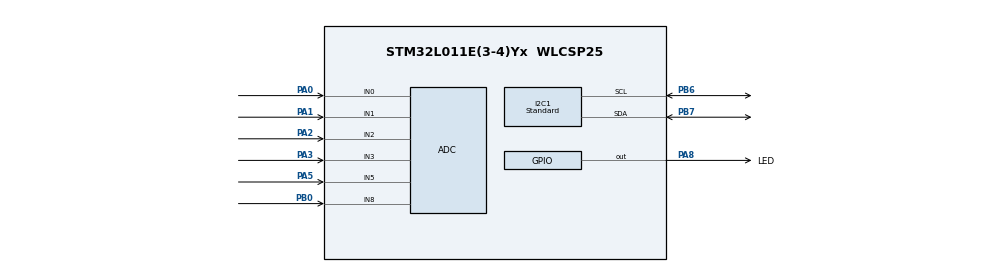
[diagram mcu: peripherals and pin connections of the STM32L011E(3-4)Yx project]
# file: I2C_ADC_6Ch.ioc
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ADC.ClockPrescaler=ADC_CLOCK_SYNC_PCLK_DIV2
ADC.ContinuousConvMode=ENABLE
ADC.DMAContinuousRequests=ENABLE
ADC.Overrun=ADC_OVR_DATA_OVERWRITTEN
ADC.SamplingTime=ADC_SAMPLETIME_39CYCLES_5
Dma.ADC.0.Direction=DMA_PERIPH_TO_MEMORY
Dma.ADC.0.Instance=DMA1_Channel1
Dma.ADC.0.MemDataAlignment=DMA_MDATAALIGN_HALFWORD
Dma.ADC.0.MemInc=DMA_MINC_ENABLE
Dma.ADC.0.Mode=DMA_CIRCULAR
Dma.ADC.0.PeriphDataAlignment=DMA_PDATAALIGN_HALFWORD
Dma.ADC.0.PeriphInc=DMA_PINC_DISABLE
Dma.ADC.0.Priority=DMA_PRIORITY_LOW
Dma.Request0=ADC
I2C1.I2C_Speed_Mode=I2C_Standard
I2C1.OwnAddress=4
I2C1.Timing=0x10420F13
Mcu.Family=STM32L0
Mcu.Name=STM32L011E(3-4)Yx
Mcu.Package=WLCSP25
NVIC.DMA1_Channel1_IRQn=true\:0\:0\:false\:false\:true\:false\:true\:true
NVIC.I2C1_IRQn=true\:0\:0\:false\:false\:true\:true\:true\:true
PA0-CK_IN.Mode=IN0
PA0-CK_IN.Signal=ADC_IN0
PA1.Mode=IN1
PA1.Signal=ADC_IN1
PA2.Mode=IN2
PA2.Signal=ADC_IN2
PA3.Mode=IN3
PA3.Signal=ADC_IN3
PA5.Mode=IN5
PA5.Signal=ADC_IN5
PA8.GPIO_Label=LED
PA8.Signal=GPIO_Output
PB0.Mode=IN8
PB0.Signal=ADC_IN8
PB6.Mode=I2C
PB6.Signal=I2C1_SCL
PB7.Mode=I2C
PB7.Signal=I2C1_SDA
ProjectManager.HeapSize=0x200
ProjectManager.StackSize=0x400
ProjectManager.TargetToolchain=CMake
RCC.AHBFreq_Value=8000000
RCC.APB1Freq_Value=8000000
RCC.APB1TimFreq_Value=8000000
RCC.APB2Freq_Value=8000000
RCC.APB2TimFreq_Value=8000000
RCC.HCLKFreq_Value=8000000
RCC.HSE_VALUE=8000000
RCC.HSI16_VALUE=16000000
RCC.HSI_VALUE=16000000
RCC.LSE_VALUE=32768
RCC.MSIClockRange=RCC_MSIRANGE_6
RCC.MSI_VALUE=4194000
RCC.PLLMUL=RCC_PLLMUL_4
RCC.SYSCLKFreq_VALUE=16000000
RCC.SYSCLKSource=RCC_SYSCLKSOURCE_HSI
RCC.AHBCLKDivider=RCC_SYSCLK_DIV2
RCC.VCOOutputFreq_Value=64000000
board=custom

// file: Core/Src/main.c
/* USER CODE BEGIN Header */
/**
  ******************************************************************************
  * @file           : main.c
  * @brief          : Main program body
  ******************************************************************************
  * @attention
  *
  * Copyright (c) 2026 STMicroelectronics.
  * All rights reserved.
  *
  * This software is licensed under terms that can be found in the LICENSE file
  * in the root directory of this software component.
  * If no LICENSE file comes with this software, it is provided AS-IS.
  *
  ******************************************************************************
  */
/* USER CODE END Header */
#include "main.h"

/* USER CODE BEGIN Includes */
#include "stdbool.h"
#include "stddef.h"
/* USER CODE END Includes */

/* USER CODE BEGIN PTD */

// NVM config defining the offsets of specific fields
typedef struct {
    uint32_t I2C_address;
    uint32_t ADC_channelConfig;
} NVM_Config;

typedef enum {
    NVM_I2C_ADDRESS = offsetof(NVM_Config, I2C_address),
    NVM_ADC_CHANNEL_CONFIG = offsetof(NVM_Config, ADC_channelConfig)
}NVM_Key;

const uint32_t ADC_channelMap[] = {
    LL_ADC_CHANNEL_0, // Bit 0 of mask
    LL_ADC_CHANNEL_1, // Bit 1
    LL_ADC_CHANNEL_2, // Bit 2
    LL_ADC_CHANNEL_3, // Bit 3
    LL_ADC_CHANNEL_5, // Bit 4
    LL_ADC_CHANNEL_8  // Bit 5
};

/* USER CODE END PTD */

/* USER CODE BEGIN PD */
#define FLASH_PEKEY1 0x89ABCDEF // magic flash key 1
#define FLASH_PEKEY2 0x02030405 // magic flash key 2
// Fastest master read is ~3.4k/s (1 channel, 100 kHz), so scan at 2x that.
// A 6-channel scan takes ~78 us at 8 MHz, the period must stay above that.
#define ADC_SCAN_RATE_HZ 7000
/* USER CODE END PD */

/* USER CODE BEGIN PV */
volatile RegisterMap registerMap;
volatile RegisterMap * const pRegisterMap = &registerMap;
volatile uint8_t * pRegisters;
volatile uint8_t * pCurrentRegister;

volatile I2C_State I2C_state;
volatile uint8_t I2C_txRegValue = 0xFF;
volatile uint8_t I2C_RX_buffer[I2C_RX_BUFFER_SIZE];
volatile uint8_t I2C_RX_bufferIdx = 0;
volatile uint8_t I2C_TX_bufferIdx = 0;

volatile uint8_t ADC_channelCount = 0;
volatile uint16_t ADC_buffer[ADC_CHANNELS] = {0, 0, 0, 0, 0, 0};
volatile uint8_t * pADC_maxChannel;
uint8_t ADC_activeMask = 0; // mask the ADC is currently set up for
volatile bool updateChannelConfig = false;
/* USER CODE END PV */

void SystemClock_Config(void);
static void MX_GPIO_Init(void);
static void MX_DMA_Init(void);
static void MX_I2C1_Init(void);
static void MX_ADC_Init(void);
/* USER CODE BEGIN PFP */

void ADC_updateChannelSetup(uint8_t config_mask);

bool EEPROM_write(NVM_Key offset, uint32_t data);
uint32_t EEPROM_read(NVM_Key offset);

/* USER CODE END PFP */

int main(void)
{

  /* MCU Configuration--------------------------------------------------------*/

  /* Reset of all peripherals, Initializes the Flash interface and the Systick. */
  LL_APB2_GRP1_EnableClock(LL_APB2_GRP1_PERIPH_SYSCFG);
  LL_APB1_GRP1_EnableClock(LL_APB1_GRP1_PERIPH_PWR);

  /* SysTick_IRQn interrupt configuration */
  NVIC_SetPriority(SysTick_IRQn, 3);

  /* Configure the system clock */
  SystemClock_Config();

  /* USER CODE BEGIN SysInit */

    I2C_state = I2C_STATE_DEFAULT;
    pCurrentRegister = &(pRegisterMap->ADC_CH0_LSB);

    pRegisterMap->ADC_channelConfig = EEPROM_read(NVM_ADC_CHANNEL_CONFIG) & 0x3F;
    pADC_maxChannel = &(pRegisterMap->ADC_CH0_MSB);

  /* USER CODE END SysInit */

  /* Initialize all configured peripherals */
  MX_GPIO_Init();
  MX_DMA_Init();
  MX_I2C1_Init();
  MX_ADC_Init();
  /* USER CODE BEGIN 2 */

  // ADC: one scan per TIM2 update instead of continuous
  LL_ADC_REG_SetContinuousMode(ADC1, LL_ADC_REG_CONV_SINGLE);
  LL_ADC_REG_SetTriggerSource(ADC1, LL_ADC_REG_TRIG_EXT_TIM2_TRGO);

  LL_APB1_GRP1_EnableClock(LL_APB1_GRP1_PERIPH_TIM2);
  TIM2->PSC = 0;
  TIM2->ARR = (SystemCoreClock / ADC_SCAN_RATE_HZ) - 1;
  TIM2->CR2 = (TIM2->CR2 & ~TIM_CR2_MMS) | TIM_CR2_MMS_1; // TRGO on update
  TIM2->CR1 |= TIM_CR1_CEN;

  /* USER CODE END 2 */

  /* Infinite loop */
  /* USER CODE BEGIN WHILE */

    // Setup
    // Enable I2C
    LL_GPIO_SetOutputPin(LED_GPIO_Port, LED_Pin);
    LL_I2C_Enable(I2C1);
    LL_I2C_EnableIT_ADDR(I2C1);
    LL_I2C_EnableIT_RX(I2C1);
    LL_I2C_EnableIT_TX(I2C1);
    LL_I2C_EnableIT_STOP(I2C1);
    LL_I2C_AcknowledgeNextData(I2C1, LL_I2C_ACK);

    LL_DMA_ConfigAddresses(DMA1, LL_DMA_CHANNEL_1,
        LL_ADC_DMA_GetRegAddr(ADC1, LL_ADC_DMA_REG_REGULAR_DATA),
        (uint32_t)&ADC_buffer[0], LL_DMA_DIRECTION_PERIPH_TO_MEMORY);

    if (LL_ADC_IsEnabled(ADC1)) {
        LL_ADC_Disable(ADC1);
        while (LL_ADC_IsEnabled(ADC1));
    }
    LL_ADC_REG_SetDMATransfer(ADC1, LL_ADC_REG_DMA_TRANSFER_NONE); // no DMA during calibration
    LL_ADC_StartCalibration(ADC1);
    while (LL_ADC_IsCalibrationOnGoing(ADC1)) {}
    LL_ADC_ClearFlag_ADRDY(ADC1);
    LL_ADC_Enable(ADC1);
    while (!LL_ADC_IsActiveFlag_ADRDY(ADC1)) {}
    ADC_updateChannelSetup(pRegisterMap->ADC_channelConfig);

    LL_GPIO_ResetOutputPin(LED_GPIO_Port, LED_Pin);
    // End of setup

  while (1)
  {
      // Sleep until an interrupt, unless there is work already
      __disable_irq();
      if (!updateChannelConfig) {
          __WFI();
      }
      __enable_irq();

      if (updateChannelConfig) {
          updateChannelConfig = false;
          const uint8_t mask = pRegisterMap->ADC_channelConfig;
          EEPROM_write(NVM_ADC_CHANNEL_CONFIG, mask); // ADC follows the register even if this fails
          if (mask != ADC_activeMask) {
              ADC_updateChannelSetup(mask);
          }
      }

    /* USER CODE END WHILE */

  }
}

void SystemClock_Config(void)
{
  LL_FLASH_SetLatency(LL_FLASH_LATENCY_0);
  while(LL_FLASH_GetLatency()!= LL_FLASH_LATENCY_0)
  {
  }
  LL_PWR_SetRegulVoltageScaling(LL_PWR_REGU_VOLTAGE_SCALE2);
  while (LL_PWR_IsActiveFlag_VOS() != 0)
  {
  }
  LL_RCC_HSI_Enable();

   /* Wait till HSI is ready */
  while(LL_RCC_HSI_IsReady() != 1)
  {

  }
  LL_RCC_HSI_SetCalibTrimming(16);
  LL_RCC_SetAHBPrescaler(LL_RCC_SYSCLK_DIV_2);
  LL_RCC_SetAPB1Prescaler(LL_RCC_APB1_DIV_1);
  LL_RCC_SetAPB2Prescaler(LL_RCC_APB2_DIV_1);
  LL_RCC_SetSysClkSource(LL_RCC_SYS_CLKSOURCE_HSI);

   /* Wait till System clock is ready */
  while(LL_RCC_GetSysClkSource() != LL_RCC_SYS_CLKSOURCE_STATUS_HSI)
  {

  }

  LL_Init1msTick(8000000);

  LL_SetSystemCoreClock(8000000);
  LL_RCC_SetI2CClockSource(LL_RCC_I2C1_CLKSOURCE_PCLK1);
}

static void MX_ADC_Init(void)
{

  LL_ADC_REG_InitTypeDef ADC_REG_InitStruct = {0};
  LL_ADC_InitTypeDef ADC_InitStruct = {0};

  LL_GPIO_InitTypeDef GPIO_InitStruct = {0};

  /* Peripheral clock enable */
  LL_APB2_GRP1_EnableClock(LL_APB2_GRP1_PERIPH_ADC1);

  LL_IOP_GRP1_EnableClock(LL_IOP_GRP1_PERIPH_GPIOA);
  LL_IOP_GRP1_EnableClock(LL_IOP_GRP1_PERIPH_GPIOB);
  /**ADC GPIO Configuration
  PA1   ------> ADC_IN1
  PA5   ------> ADC_IN5
  PA2   ------> ADC_IN2
  PB0   ------> ADC_IN8
  PA3   ------> ADC_IN3
  PA0-CK_IN   ------> ADC_IN0
  */
  GPIO_InitStruct.Pin = LL_GPIO_PIN_1;
  GPIO_InitStruct.Mode = LL_GPIO_MODE_ANALOG;
  GPIO_InitStruct.Pull = LL_GPIO_PULL_NO;
  LL_GPIO_Init(GPIOA, &GPIO_InitStruct);

  GPIO_InitStruct.Pin = LL_GPIO_PIN_5;
  GPIO_InitStruct.Mode = LL_GPIO_MODE_ANALOG;
  GPIO_InitStruct.Pull = LL_GPIO_PULL_NO;
  LL_GPIO_Init(GPIOA, &GPIO_InitStruct);

  GPIO_InitStruct.Pin = LL_GPIO_PIN_2;
  GPIO_InitStruct.Mode = LL_GPIO_MODE_ANALOG;
  GPIO_InitStruct.Pull = LL_GPIO_PULL_NO;
  LL_GPIO_Init(GPIOA, &GPIO_InitStruct);

  GPIO_InitStruct.Pin = LL_GPIO_PIN_0;
  GPIO_InitStruct.Mode = LL_GPIO_MODE_ANALOG;
  GPIO_InitStruct.Pull = LL_GPIO_PULL_NO;
  LL_GPIO_Init(GPIOB, &GPIO_InitStruct);

  GPIO_InitStruct.Pin = LL_GPIO_PIN_3;
  GPIO_InitStruct.Mode = LL_GPIO_MODE_ANALOG;
  GPIO_InitStruct.Pull = LL_GPIO_PULL_NO;
  LL_GPIO_Init(GPIOA, &GPIO_InitStruct);

  GPIO_InitStruct.Pin = LL_GPIO_PIN_0;
  GPIO_InitStruct.Mode = LL_GPIO_MODE_ANALOG;
  GPIO_InitStruct.Pull = LL_GPIO_PULL_NO;
  LL_GPIO_Init(GPIOA, &GPIO_InitStruct);

  /* ADC DMA Init */

  /* ADC Init */
  LL_DMA_SetPeriphRequest(DMA1, LL_DMA_CHANNEL_1, LL_DMA_REQUEST_0);

  LL_DMA_SetDataTransferDirection(DMA1, LL_DMA_CHANNEL_1, LL_DMA_DIRECTION_PERIPH_TO_MEMORY);

  LL_DMA_SetChannelPriorityLevel(DMA1, LL_DMA_CHANNEL_1, LL_DMA_PRIORITY_LOW);

  LL_DMA_SetMode(DMA1, LL_DMA_CHANNEL_1, LL_DMA_MODE_CIRCULAR);

  LL_DMA_SetPeriphIncMode(DMA1, LL_DMA_CHANNEL_1, LL_DMA_PERIPH_NOINCREMENT);

  LL_DMA_SetMemoryIncMode(DMA1, LL_DMA_CHANNEL_1, LL_DMA_MEMORY_INCREMENT);

  LL_DMA_SetPeriphSize(DMA1, LL_DMA_CHANNEL_1, LL_DMA_PDATAALIGN_HALFWORD);

  LL_DMA_SetMemorySize(DMA1, LL_DMA_CHANNEL_1, LL_DMA_MDATAALIGN_HALFWORD);

  /** Configure Regular Channel
  */
  LL_ADC_REG_SetSequencerChAdd(ADC1, LL_ADC_CHANNEL_0);

  /** Configure Regular Channel
  */
  LL_ADC_REG_SetSequencerChAdd(ADC1, LL_ADC_CHANNEL_1);

  /** Configure Regular Channel
  */
  LL_ADC_REG_SetSequencerChAdd(ADC1, LL_ADC_CHANNEL_2);

  /** Configure Regular Channel
  */
  LL_ADC_REG_SetSequencerChAdd(ADC1, LL_ADC_CHANNEL_3);

  /** Configure Regular Channel
  */
  LL_ADC_REG_SetSequencerChAdd(ADC1, LL_ADC_CHANNEL_5);

  /** Configure Regular Channel
  */
  LL_ADC_REG_SetSequencerChAdd(ADC1, LL_ADC_CHANNEL_8);

  /** Common config
  */
  ADC_REG_InitStruct.TriggerSource = LL_ADC_REG_TRIG_SOFTWARE;
  ADC_REG_InitStruct.SequencerDiscont = LL_ADC_REG_SEQ_DISCONT_DISABLE;
  ADC_REG_InitStruct.ContinuousMode = LL_ADC_REG_CONV_CONTINUOUS;
  ADC_REG_InitStruct.DMATransfer = LL_ADC_REG_DMA_TRANSFER_UNLIMITED;
  ADC_REG_InitStruct.Overrun = LL_ADC_REG_OVR_DATA_OVERWRITTEN;
  LL_ADC_REG_Init(ADC1, &ADC_REG_InitStruct);
  LL_ADC_SetSamplingTimeCommonChannels(ADC1, LL_ADC_SAMPLINGTIME_39CYCLES_5);
  LL_ADC_SetOverSamplingScope(ADC1, LL_ADC_OVS_DISABLE);
  LL_ADC_REG_SetSequencerScanDirection(ADC1, LL_ADC_REG_SEQ_SCAN_DIR_FORWARD);
  LL_ADC_SetCommonFrequencyMode(__LL_ADC_COMMON_INSTANCE(ADC1), LL_ADC_CLOCK_FREQ_MODE_HIGH);
  LL_ADC_DisableIT_EOC(ADC1);
  LL_ADC_DisableIT_EOS(ADC1);
  ADC_InitStruct.Clock = LL_ADC_CLOCK_SYNC_PCLK_DIV2;
  ADC_InitStruct.Resolution = LL_ADC_RESOLUTION_12B;
  ADC_InitStruct.DataAlignment = LL_ADC_DATA_ALIGN_RIGHT;
  ADC_InitStruct.LowPowerMode = LL_ADC_LP_MODE_NONE;
  LL_ADC_Init(ADC1, &ADC_InitStruct);

  /* Enable ADC internal voltage regulator */
  LL_ADC_EnableInternalRegulator(ADC1);
  /* Delay for ADC internal voltage regulator stabilization. */
  /* Compute number of CPU cycles to wait for, from delay in us. */
  /* Note: Variable divided by 2 to compensate partially */
  /* CPU processing cycles (depends on compilation optimization). */
  /* Note: If system core clock frequency is below 200kHz, wait time */
  /* is only a few CPU processing cycles. */
  uint32_t wait_loop_index;
  wait_loop_index = ((LL_ADC_DELAY_INTERNAL_REGUL_STAB_US * (SystemCoreClock / (100000 * 2))) / 10);
  while(wait_loop_index != 0)
  {
    wait_loop_index--;
  }

}

static void MX_I2C1_Init(void)
{

  LL_I2C_InitTypeDef I2C_InitStruct = {0};

  LL_GPIO_InitTypeDef GPIO_InitStruct = {0};

  LL_IOP_GRP1_EnableClock(LL_IOP_GRP1_PERIPH_GPIOB);
  /**I2C1 GPIO Configuration
  PB6   ------> I2C1_SCL
  PB7   ------> I2C1_SDA
  */
  GPIO_InitStruct.Pin = LL_GPIO_PIN_6;
  GPIO_InitStruct.Mode = LL_GPIO_MODE_ALTERNATE;
  GPIO_InitStruct.Speed = LL_GPIO_SPEED_FREQ_VERY_HIGH;
  GPIO_InitStruct.OutputType = LL_GPIO_OUTPUT_OPENDRAIN;
  GPIO_InitStruct.Pull = LL_GPIO_PULL_NO;
  GPIO_InitStruct.Alternate = LL_GPIO_AF_1;
  LL_GPIO_Init(GPIOB, &GPIO_InitStruct);

  GPIO_InitStruct.Pin = LL_GPIO_PIN_7;
  GPIO_InitStruct.Mode = LL_GPIO_MODE_ALTERNATE;
  GPIO_InitStruct.Speed = LL_GPIO_SPEED_FREQ_VERY_HIGH;
  GPIO_InitStruct.OutputType = LL_GPIO_OUTPUT_OPENDRAIN;
  GPIO_InitStruct.Pull = LL_GPIO_PULL_NO;
  GPIO_InitStruct.Alternate = LL_GPIO_AF_1;
  LL_GPIO_Init(GPIOB, &GPIO_InitStruct);

  /* Peripheral clock enable */
  LL_APB1_GRP1_EnableClock(LL_APB1_GRP1_PERIPH_I2C1);

  /* I2C1 interrupt Init */
  NVIC_SetPriority(I2C1_IRQn, 0);
  NVIC_EnableIRQ(I2C1_IRQn);

  /** I2C Initialization
  */
  LL_I2C_EnableAutoEndMode(I2C1);
  LL_I2C_DisableOwnAddress2(I2C1);
  LL_I2C_DisableGeneralCall(I2C1);
  LL_I2C_EnableClockStretching(I2C1);
  I2C_InitStruct.PeripheralMode = LL_I2C_MODE_I2C;
  I2C_InitStruct.Timing = 0x10420F13;
  I2C_InitStruct.AnalogFilter = LL_I2C_ANALOGFILTER_ENABLE;
  I2C_InitStruct.DigitalFilter = 0;
  I2C_InitStruct.OwnAddress1 = 8;
  I2C_InitStruct.TypeAcknowledge = LL_I2C_ACK;
  I2C_InitStruct.OwnAddrSize = LL_I2C_OWNADDRESS1_7BIT;
  LL_I2C_Init(I2C1, &I2C_InitStruct);
  LL_I2C_SetOwnAddress2(I2C1, 0, LL_I2C_OWNADDRESS2_NOMASK);

}

static void MX_DMA_Init(void)
{

  /* Init with LL driver */
  /* DMA controller clock enable */
  LL_AHB1_GRP1_EnableClock(LL_AHB1_GRP1_PERIPH_DMA1);

  /* DMA interrupt init */
  /* DMA1_Channel1_IRQn interrupt configuration */
  NVIC_SetPriority(DMA1_Channel1_IRQn, 0);
  NVIC_EnableIRQ(DMA1_Channel1_IRQn);

}

static void MX_GPIO_Init(void)
{
  LL_GPIO_InitTypeDef GPIO_InitStruct = {0};

  /* GPIO Ports Clock Enable */
  LL_IOP_GRP1_EnableClock(LL_IOP_GRP1_PERIPH_GPIOB);
  LL_IOP_GRP1_EnableClock(LL_IOP_GRP1_PERIPH_GPIOA);

  /**/
  LL_GPIO_ResetOutputPin(LED_GPIO_Port, LED_Pin);

  /**/
  GPIO_InitStruct.Pin = LED_Pin;
  GPIO_InitStruct.Mode = LL_GPIO_MODE_OUTPUT;
  GPIO_InitStruct.Speed = LL_GPIO_SPEED_FREQ_LOW;
  GPIO_InitStruct.OutputType = LL_GPIO_OUTPUT_PUSHPULL;
  GPIO_InitStruct.Pull = LL_GPIO_PULL_NO;
  LL_GPIO_Init(LED_GPIO_Port, &GPIO_InitStruct);

}

/* USER CODE BEGIN 4 */

/* Reconfigures the ADC for config_mask. Doesn't touch the EEPROM.
 * Channels 0...5 are remapped to the physical channels 0...3, 5, 8.
 * A mask like 100001 activates channels 0 and 5, using ADC channels 0 and 8.
 */
void ADC_updateChannelSetup(uint8_t config_mask) {
    config_mask &= 0x3F;

    if (LL_ADC_REG_IsConversionOngoing(ADC1)) {
        LL_ADC_REG_StopConversion(ADC1);
        while (LL_ADC_REG_IsStopConversionOngoing(ADC1));
        while (LL_ADC_REG_IsConversionOngoing(ADC1));
    }
    LL_ADC_REG_SetDMATransfer(ADC1, LL_ADC_REG_DMA_TRANSFER_NONE);
    LL_DMA_DisableChannel(DMA1, LL_DMA_CHANNEL_1);

    uint8_t count = 0;
    ADC1->CHSELR = 0;
    for (int i = 0; i < 6; i++) {
        if ((config_mask >> i) & 1) {
            LL_ADC_REG_SetSequencerChAdd(ADC1, ADC_channelMap[i]);
            count++;
        }
    }

    __disable_irq();
    ADC_channelCount = count;
    pADC_maxChannel = &(pRegisterMap->ADC_CH0_MSB) + (count * 2);
    ADC_activeMask = config_mask;
    __enable_irq();

    if (count > 0) {
        LL_DMA_ClearFlag_GI1(DMA1);
        LL_ADC_ClearFlag_EOC(ADC1);
        LL_ADC_ClearFlag_EOS(ADC1);
        LL_ADC_ClearFlag_OVR(ADC1);

        LL_DMA_SetDataLength(DMA1, LL_DMA_CHANNEL_1, count);
        LL_DMA_EnableChannel(DMA1, LL_DMA_CHANNEL_1);
        LL_ADC_REG_SetDMATransfer(ADC1, LL_ADC_REG_DMA_TRANSFER_UNLIMITED);
        LL_ADC_REG_StartConversion(ADC1);
    }
}

/* Write to EEPROM if data is different then what's in the EEPROM already.
 * Returns true if EEPROM was updated, false otherwise (also in case of failure...)
 */
bool EEPROM_write(const NVM_Key offset, const uint32_t data) {
    const uint32_t absolute_address = DATA_EEPROM_BASE + offset;

    if (*(__IO uint32_t *)absolute_address == data) return false;

    // Unlock
    while (FLASH->SR & FLASH_SR_BSY) {}
    if (FLASH->PECR & FLASH_PECR_PELOCK) {
        FLASH->PEKEYR = FLASH_PEKEY1;
        FLASH->PEKEYR = FLASH_PEKEY2;
    }

    if (FLASH->PECR & FLASH_PECR_PELOCK) return false; // Unlock failed

    // write
    FLASH->SR |= (FLASH_SR_WRPERR | FLASH_SR_PGAERR); // clear potential old error flags
    *(__IO uint32_t *)absolute_address = data;
    while (FLASH->SR & FLASH_SR_BSY) {}

    // Lock
    FLASH->PECR |= FLASH_PECR_PELOCK;

    return true;
}

uint32_t EEPROM_read(const NVM_Key offset) {
    const uint32_t absolute_address = DATA_EEPROM_BASE + offset;
    return *(__IO uint32_t*) absolute_address;
}
/* USER CODE END 4 */

void Error_Handler(void)
{
  __disable_irq();
  while (1)
  {
  }
}
